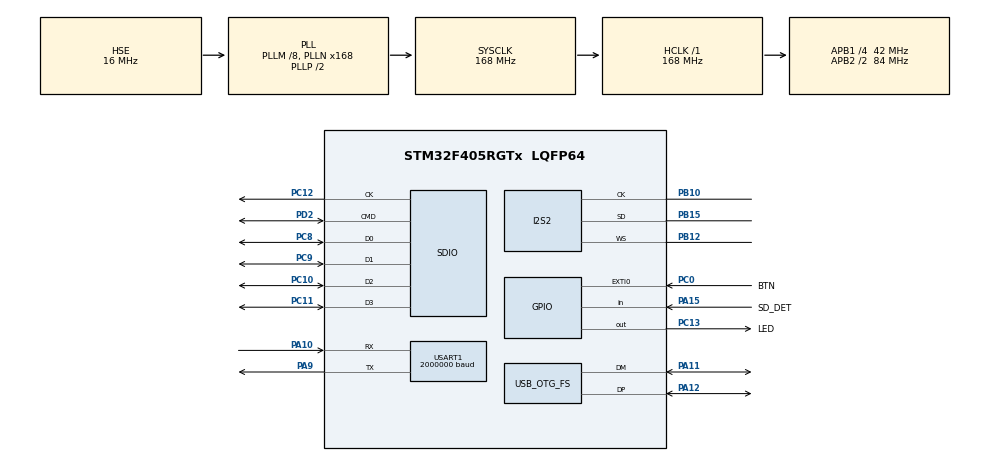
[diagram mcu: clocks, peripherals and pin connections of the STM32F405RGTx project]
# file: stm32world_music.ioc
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ARM.CMSIS.5.6.0.CMSISJjDSP=Library
Dma.Request0=SPI2_TX
Dma.SPI2_TX.0.Direction=DMA_MEMORY_TO_PERIPH
Dma.SPI2_TX.0.FIFOMode=DMA_FIFOMODE_DISABLE
Dma.SPI2_TX.0.Instance=DMA1_Stream4
Dma.SPI2_TX.0.MemDataAlignment=DMA_MDATAALIGN_HALFWORD
Dma.SPI2_TX.0.MemInc=DMA_MINC_ENABLE
Dma.SPI2_TX.0.Mode=DMA_CIRCULAR
Dma.SPI2_TX.0.PeriphDataAlignment=DMA_PDATAALIGN_HALFWORD
Dma.SPI2_TX.0.PeriphInc=DMA_PINC_DISABLE
Dma.SPI2_TX.0.Priority=DMA_PRIORITY_LOW
FATFS.BSP.number=1
FATFS._FS_EXFAT=1
FATFS._FS_LOCK=16
FATFS._MULTI_PARTITION=1
FATFS._USE_EXPAND=1
FATFS._USE_FIND=1
FATFS._USE_LABEL=1
FATFS._USE_LFN=1
FATFS._VOLUMES=4
FATFS0.BSP.STBoard=false
FATFS0.BSP.api=Unknown
FATFS0.BSP.instance=PA15
FATFS0.BSP.ip=GPIO
FATFS0.BSP.mode=Input
FATFS0.BSP.name=Detect_SDIO
FATFS0.BSP.solution=PA15
I2S2.AudioFreq=I2S_AUDIOFREQ_48K
I2S2.ErrorAudioFreq=0.61 %
I2S2.FullDuplexMode=I2S_FULLDUPLEXMODE_DISABLE
I2S2.Instance=SPI$Index
I2S2.RealAudioFreq=48.295 KHz
I2S2.Standard=I2S_STANDARD_PHILIPS
I2S2.VirtualMode=I2S_MODE_MASTER
Mcu.Family=STM32F4
Mcu.Name=STM32F405RGTx
Mcu.Package=LQFP64
NVIC.DMA1_Stream4_IRQn=true\:0\:0\:false\:false\:true\:false\:true\:true
NVIC.OTG_FS_IRQn=true\:0\:0\:false\:false\:true\:false\:true\:true
NVIC.PriorityGroup=NVIC_PRIORITYGROUP_4
NVIC.SDIO_IRQn=true\:0\:0\:false\:false\:true\:true\:true\:true
PA10.Mode=Asynchronous
PA10.Signal=USART1_RX
PA11.Mode=Device_Only
PA11.Signal=USB_OTG_FS_DM
PA12.Mode=Device_Only
PA12.Signal=USB_OTG_FS_DP
PA13.Mode=Serial_Wire
PA13.Signal=SYS_JTMS-SWDIO
PA14.Mode=Serial_Wire
PA14.Signal=SYS_JTCK-SWCLK
PA15.GPIO_Label=SD_DET
PA15.Signal=GPIO_Input
PA9.Mode=Asynchronous
PA9.Signal=USART1_TX
PB10.Mode=Half_Duplex_Master
PB10.Signal=I2S2_CK
PB12.Mode=Half_Duplex_Master
PB12.Signal=I2S2_WS
PB15.Mode=Half_Duplex_Master
PB15.Signal=I2S2_SD
PC0.GPIO_Label=BTN
PC0.Signal=GPXTI0
PC10.GPIO_PuPd=GPIO_PULLUP
PC10.Mode=SD_4_bits_Wide_bus
PC10.Signal=SDIO_D2
PC11.GPIO_PuPd=GPIO_PULLUP
PC11.Mode=SD_4_bits_Wide_bus
PC11.Signal=SDIO_D3
PC12.Mode=SD_4_bits_Wide_bus
PC12.Signal=SDIO_CK
PC13-ANTI_TAMP.GPIO_Label=LED
PC13-ANTI_TAMP.GPIO_ModeDefaultOutputPP=GPIO_MODE_OUTPUT_OD
PC13-ANTI_TAMP.GPIO_PuPd=GPIO_NOPULL
PC13-ANTI_TAMP.PinState=GPIO_PIN_SET
PC13-ANTI_TAMP.Signal=GPIO_Output
PC8.GPIO_PuPd=GPIO_PULLUP
PC8.Mode=SD_4_bits_Wide_bus
PC8.Signal=SDIO_D0
PC9.GPIO_PuPd=GPIO_PULLUP
PC9.Mode=SD_4_bits_Wide_bus
PC9.Signal=SDIO_D1
PD2.GPIO_PuPd=GPIO_PULLUP
PD2.Mode=SD_4_bits_Wide_bus
PD2.Signal=SDIO_CMD
PH0-OSC_IN.Mode=HSE-External-Oscillator
PH0-OSC_IN.Signal=RCC_OSC_IN
PH1-OSC_OUT.Mode=HSE-External-Oscillator
PH1-OSC_OUT.Signal=RCC_OSC_OUT
ProjectManager.HeapSize=0x200
ProjectManager.StackSize=0x400
ProjectManager.TargetToolchain=STM32CubeIDE
RCC.48MHZClocksFreq_Value=48000000
RCC.AHBFreq_Value=168000000
RCC.APB1CLKDivider=RCC_HCLK_DIV4
RCC.APB1Freq_Value=42000000
RCC.APB1TimFreq_Value=84000000
RCC.APB2CLKDivider=RCC_HCLK_DIV2
RCC.APB2Freq_Value=84000000
RCC.APB2TimFreq_Value=168000000
RCC.CortexFreq_Value=168000000
RCC.HCLKFreq_Value=168000000
RCC.HSE_VALUE=16000000
RCC.HSI_VALUE=16000000
RCC.LSE_VALUE=32768
RCC.PLLI2SN=51
RCC.PLLM=8
RCC.PLLN=168
RCC.PLLQ=7
RCC.SYSCLKFreq_VALUE=168000000
RCC.SYSCLKSource=RCC_SYSCLKSOURCE_PLLCLK
RCC.VCOOutputFreq_Value=336000000
SDIO.ClockBypass=SDIO_CLOCK_BYPASS_DISABLE
SDIO.ClockDiv=0
USART1.BaudRate=2000000
USART1.VirtualMode=VM_ASYNC
USB_DEVICE.CLASS_NAME_FS=AUDIO
USB_DEVICE.VirtualMode-AUDIO_FS=Audio
USB_DEVICE.VirtualModeFS=Audio_FS
USB_OTG_FS.VirtualMode=Device_Only
VP_ARM.CMSIS_VS_CMSISJjDSP_1.7.0_5.6.0.Mode=CMSISJjDSP
VP_FATFS_VS_SDIO.Mode=SDIO
VP_USB_DEVICE_VS_USB_DEVICE_AUDIO_FS.Mode=AUDIO_FS
board=custom

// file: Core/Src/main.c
/* USER CODE BEGIN Header */
/**
 ******************************************************************************
 * @file           : main.c
 * @brief          : Main program body
 ******************************************************************************
 * @attention
 *
 * Copyright (c) 2025 Lars Boegild Thomsen <lth@stm32world.com>
 * All rights reserved.
 *
 * This software is licensed under terms that can be found in the LICENSE file
 * in the root directory of this software component.
 * If no LICENSE file comes with this software, it is provided AS-IS.
 *
 ******************************************************************************
 */
/* USER CODE END Header */
#include "main.h"
#include "fatfs.h"
#include "usb_device.h"

/* USER CODE BEGIN Includes */
#include <stdio.h>
#include <math.h>
#include "arm_math.h"
/* USER CODE END Includes */

/* USER CODE BEGIN PD */

#define TAU 6.28318530717958647692
#define I2S_DMA_BUFFER_SAMPLES 480
#define I2S_DMA_BUFFER_SIZE 2 * 2 * I2S_DMA_BUFFER_SAMPLES // 2 full buffers L+R samples
#define SAMPLE_FREQ 48000
#define OUTPUT_MID 32768

/* USER CODE END PD */

I2S_HandleTypeDef hi2s2;
DMA_HandleTypeDef hdma_spi2_tx;

SD_HandleTypeDef hsd;

UART_HandleTypeDef huart1;

/* USER CODE BEGIN PV */

//const float two_pi = 2 * M_PI;
float angle[2] = {
        0,
        0
};

float angle_change[2] = {
        100.0 * (TAU / SAMPLE_FREQ), // left
        50.0 * (TAU / SAMPLE_FREQ)  // right
};

float amplification[2] = {
        1,
        0.4
};

const char total_uptime_filename[] = "uptime.dat";
const char tick_filename[] = "tick.txt";

int16_t i2s_dma_buffer[I2S_DMA_BUFFER_SIZE];

//int16_t *dma_buffer_to_fill;

uint8_t dma_buffer_processing = 0;
uint32_t dma_overflow = 0;

uint32_t i2c_cb, i2c_hcb;
uint32_t total_uptime;

uint8_t open_next_file = 1;

FRESULT res;
DIR dir;
FIL music_file;
FILINFO music_file_info;

/* USER CODE END PV */

void SystemClock_Config(void);
static void MX_GPIO_Init(void);
static void MX_DMA_Init(void);
static void MX_USART1_UART_Init(void);
static void MX_SDIO_SD_Init(void);
static void MX_I2S2_Init(void);

/* USER CODE BEGIN 0 */

// Send printf to uart1
int _write(int fd, char *ptr, int len) {
    HAL_StatusTypeDef hstatus;

    if (fd == 1 || fd == 2) {
        hstatus = HAL_UART_Transmit(&huart1, (uint8_t*) ptr, len, HAL_MAX_DELAY);
        if (hstatus == HAL_OK)
            return len;
        else
            return -1;
    }
    return -1;
}

uint8_t BSP_SD_IsDetected(void)
{
    __IO uint8_t status = SD_PRESENT; // Just ignore the thing

//    if (HAL_GPIO_ReadPin(SD_DETECT_GPIO_PORT, SD_DETECT_PIN) != GPIO_PIN_RESET) {
//        status = SD_NOT_PRESENT;
//    }

    return status;
}

void ls() {

    char *path;

    path = ""; // where you want to list

    res = f_opendir(&dir, path);

#ifdef DEBUG
    if (res != FR_OK)
        printf("res = %d f_opendir\n", res);
#endif

    if (res == FR_OK) {
        while (1) {

            FILINFO fno;

            res = f_readdir(&dir, &fno);

#ifdef DEBUG
            if (res != FR_OK)
                printf("res = %d f_readdir\n", res);
#endif

            if ((res != FR_OK) || (fno.fname[0] == 0))
                break;

            printf("%c%c%c%c %10d %s/%s\n",
                    ((fno.fattrib & AM_DIR) ? 'D' : '-'),
                    ((fno.fattrib & AM_RDO) ? 'R' : '-'),
                    ((fno.fattrib & AM_SYS) ? 'S' : '-'),
                    ((fno.fattrib & AM_HID) ? 'H' : '-'),
                    (int) fno.fsize, path, fno.fname);
        }

    }

    uint32_t free_clusters;
    FATFS *fs_ptr;

    res = f_getfree("", &free_clusters, &fs_ptr);
    if (res == FR_OK) {
        uint32_t totalBlocks = (fs_ptr->n_fatent - 2) * fs_ptr->csize;
        uint32_t freeBlocks = free_clusters * fs_ptr->csize;

        printf("Total blocks: %lu (%lu Mb)\n", totalBlocks, totalBlocks / 2000);
        printf("Free blocks : %lu (%lu Mb)\n", freeBlocks, freeBlocks / 2000);
    } else {
        printf("Unable to get free space\n");
    }

}

void process_buffer(int16_t *buffer) {

    dma_buffer_processing = 1;

    for (int i = 0; i < 2 * I2S_DMA_BUFFER_SAMPLES; i += 2) { // Two samples left/right per step
        buffer[i] = OUTPUT_MID * amplification[0] * arm_cos_f32(angle[0]);      // Left
        buffer[i + 1] = OUTPUT_MID * amplification[1] * arm_cos_f32(angle[1]);  // Right
        angle[0] += angle_change[0];
        angle[1] += angle_change[1];
        if (angle[0] > TAU)
            angle[0] -= TAU;
        if (angle[1] > TAU)
            angle[1] -= TAU;
    }

    dma_buffer_processing = 0;

}

void HAL_I2S_TxCpltCallback(I2S_HandleTypeDef *hi2s) {
    if (dma_buffer_processing) {
        ++dma_overflow; // Still processing previous buffer
    } else {
        process_buffer(&i2s_dma_buffer[2 * I2S_DMA_BUFFER_SAMPLES]); // Second half
        ++i2c_cb;
    }
}

void HAL_I2S_TxHalfCpltCallback(I2S_HandleTypeDef *hi2s) {
    if (dma_buffer_processing) {
        ++dma_overflow; // Still processing previous buffer
    } else {
        process_buffer(&i2s_dma_buffer[0]);
        ++i2c_hcb;
    }

}

/* USER CODE END 0 */

int main(void)
{

    /* MCU Configuration--------------------------------------------------------*/

    /* Reset of all peripherals, Initializes the Flash interface and the Systick. */
    HAL_Init();

    /* Configure the system clock */
    SystemClock_Config();

    /* Initialize all configured peripherals */
    MX_GPIO_Init();
    MX_DMA_Init();
    MX_USART1_UART_Init();
    MX_SDIO_SD_Init();
    MX_I2S2_Init();
    MX_USB_DEVICE_Init();
    MX_FATFS_Init();
    /* USER CODE BEGIN 2 */

    printf("\n\n\n---------------------\nStarting music player\n");

    printf("SD Card Information:\n");
    printf("Block size  : %lu\n", hsd.SdCard.BlockSize);
    printf("Block nmbr  : %lu\n", hsd.SdCard.BlockNbr);
    printf("Card size   : %lu\n", (hsd.SdCard.BlockSize * hsd.SdCard.BlockNbr) / 1000);
    printf("Card version: %lu\n", hsd.SdCard.CardVersion);

    uint32_t wbytes, rbytes;

    if (f_mount(&SDFatFS, (TCHAR const*) SDPath, 0) != FR_OK) {
        printf("Unable to mount disk\n");
        Error_Handler();
    }

    if (f_open(&SDFile, total_uptime_filename, FA_OPEN_EXISTING | FA_READ) == FR_OK) {
        if (f_read(&SDFile, &total_uptime, sizeof(total_uptime), (void*) &rbytes) == FR_OK) {
            printf("Total uptime = %lu\n", total_uptime);
            f_close(&SDFile);
        } else {
            printf("Unable to read\n");
            Error_Handler();
        }
    } else {
        // File did not exist - let's create it
        if (f_open(&SDFile, total_uptime_filename, FA_CREATE_ALWAYS | FA_WRITE) == FR_OK) {
            if (f_write(&SDFile, &total_uptime, sizeof(total_uptime), (void*) &wbytes) == FR_OK) {
                printf("File %s created\n", total_uptime_filename);
                f_close(&SDFile);
            } else {
                printf("Unable to write\n");
                Error_Handler();
            }
        } else {
            printf("Unable to create\n");
            Error_Handler();
        }
    }

    // Create tick file always
    if (f_open(&SDFile, tick_filename, FA_CREATE_ALWAYS | FA_WRITE) == FR_OK) {
        f_close(&SDFile);
    }

    HAL_I2S_Transmit_DMA(&hi2s2, (uint16_t*) &i2s_dma_buffer, 2 * I2S_DMA_BUFFER_SAMPLES);

    /* USER CODE END 2 */

    /* Infinite loop */
    /* USER CODE BEGIN WHILE */

    uint32_t now = 0, next_blink = 500, next_tick = 1000, loop_cnt = 0;

    while (1) {

        now = uwTick;

        if (now >= next_blink) {

            HAL_GPIO_TogglePin(LED_GPIO_Port, LED_Pin);

            next_blink = now + 500;
        }

        if (now >= next_tick) {

            printf("Tick %lu (loop=%lu hcb=%lu cb=%lu do=%lu)\n", now / 1000, loop_cnt, i2c_hcb, i2c_cb, dma_overflow);

            ++total_uptime;

//            // Update the total uptime file
//            if (f_open(&SDFile, total_uptime_filename, FA_OPEN_EXISTING | FA_WRITE) == FR_OK) {
//                if (f_write(&SDFile, &total_uptime, sizeof(total_uptime), (void*) &wbytes) != FR_OK) {
//                    printf("Unable to write\n");
//                }
//                f_close(&SDFile);
//            } else {
//                printf("Unable to open file\n");
//            }

            open_next_file = 0;

            loop_cnt = 0;
            next_tick = now + 1000;

        }

        if (open_next_file) {

            // Experimental advance to next
            res = f_findnext(&dir, &music_file_info);

            if (res != FR_OK || music_file_info.fname[0] == '\0') { // If we're out of files start again
                res = f_findfirst(&dir, &music_file_info, "", "*.wav");
            }
            printf("Next file: %s\n", music_file_info.fname);

            open_next_file = 0;

        }

//        if (dma_buffer_to_fill) {
//
//            for (int i = 0; i < I2S_DMA_BUFFER_SAMPLES; ++i) {
//                dma_buffer_to_fill[0] = (int16_t) (amplification[0] * (OUTPUT_MID * arm_cos_f32(angle[0])));
//                dma_buffer_to_fill[1] = (int16_t) (amplification[1] * (OUTPUT_MID * arm_cos_f32(angle[1])));
//                angle[0] += angle_change[0];
//                angle[1] += angle_change[1];
//                if (angle[0] >= two_pi) {
//                    angle[0] -= two_pi;
//                }
//                if (angle[1] >= two_pi) {
//                    angle[1] -= two_pi;
//                }
//                dma_buffer_to_fill += 2;
//            }
//
//            dma_buffer_to_fill = 0;
//        }

        ++loop_cnt;

        /* USER CODE END WHILE */

    }
}

void SystemClock_Config(void)
{
    RCC_OscInitTypeDef RCC_OscInitStruct = { 0 };
    RCC_ClkInitTypeDef RCC_ClkInitStruct = { 0 };

    /** Configure the main internal regulator output voltage
     */
    __HAL_RCC_PWR_CLK_ENABLE();
    __HAL_PWR_VOLTAGESCALING_CONFIG(PWR_REGULATOR_VOLTAGE_SCALE1);

    /** Initializes the RCC Oscillators according to the specified parameters
     * in the RCC_OscInitTypeDef structure.
     */
    RCC_OscInitStruct.OscillatorType = RCC_OSCILLATORTYPE_HSE;
    RCC_OscInitStruct.HSEState = RCC_HSE_ON;
    RCC_OscInitStruct.PLL.PLLState = RCC_PLL_ON;
    RCC_OscInitStruct.PLL.PLLSource = RCC_PLLSOURCE_HSE;
    RCC_OscInitStruct.PLL.PLLM = 8;
    RCC_OscInitStruct.PLL.PLLN = 168;
    RCC_OscInitStruct.PLL.PLLP = RCC_PLLP_DIV2;
    RCC_OscInitStruct.PLL.PLLQ = 7;
    if (HAL_RCC_OscConfig(&RCC_OscInitStruct) != HAL_OK)
            {
        Error_Handler();
    }

    /** Initializes the CPU, AHB and APB buses clocks
     */
    RCC_ClkInitStruct.ClockType = RCC_CLOCKTYPE_HCLK | RCC_CLOCKTYPE_SYSCLK
            | RCC_CLOCKTYPE_PCLK1 | RCC_CLOCKTYPE_PCLK2;
    RCC_ClkInitStruct.SYSCLKSource = RCC_SYSCLKSOURCE_PLLCLK;
    RCC_ClkInitStruct.AHBCLKDivider = RCC_SYSCLK_DIV1;
    RCC_ClkInitStruct.APB1CLKDivider = RCC_HCLK_DIV4;
    RCC_ClkInitStruct.APB2CLKDivider = RCC_HCLK_DIV2;

    if (HAL_RCC_ClockConfig(&RCC_ClkInitStruct, FLASH_LATENCY_5) != HAL_OK)
            {
        Error_Handler();
    }
}

static void MX_I2S2_Init(void)
{

    hi2s2.Instance = SPI2;
    hi2s2.Init.Mode = I2S_MODE_MASTER_TX;
    hi2s2.Init.Standard = I2S_STANDARD_PHILIPS;
    hi2s2.Init.DataFormat = I2S_DATAFORMAT_16B;
    hi2s2.Init.MCLKOutput = I2S_MCLKOUTPUT_DISABLE;
    hi2s2.Init.AudioFreq = I2S_AUDIOFREQ_48K;
    hi2s2.Init.CPOL = I2S_CPOL_LOW;
    hi2s2.Init.ClockSource = I2S_CLOCK_PLL;
    hi2s2.Init.FullDuplexMode = I2S_FULLDUPLEXMODE_DISABLE;
    if (HAL_I2S_Init(&hi2s2) != HAL_OK)
            {
        Error_Handler();
    }

}

static void MX_SDIO_SD_Init(void)
{

    hsd.Instance = SDIO;
    hsd.Init.ClockEdge = SDIO_CLOCK_EDGE_RISING;
    hsd.Init.ClockBypass = SDIO_CLOCK_BYPASS_DISABLE;
    hsd.Init.ClockPowerSave = SDIO_CLOCK_POWER_SAVE_DISABLE;
    hsd.Init.BusWide = SDIO_BUS_WIDE_4B;
    hsd.Init.HardwareFlowControl = SDIO_HARDWARE_FLOW_CONTROL_DISABLE;
    hsd.Init.ClockDiv = 0;
    /* USER CODE BEGIN SDIO_Init 2 */

    // First init with 1B bus - SD card will not initialize with 4 bits
    hsd.Init.BusWide = SDIO_BUS_WIDE_1B;
    if (HAL_SD_Init(&hsd) != HAL_OK) {
        Error_Handler();
    }

    // Now we can switch to 4 bit mode
    if (HAL_SD_ConfigWideBusOperation(&hsd, SDIO_BUS_WIDE_4B) != HAL_OK) {
        Error_Handler();
    }

    /* USER CODE END SDIO_Init 2 */

}

static void MX_USART1_UART_Init(void)
{

    huart1.Instance = USART1;
    huart1.Init.BaudRate = 2000000;
    huart1.Init.WordLength = UART_WORDLENGTH_8B;
    huart1.Init.StopBits = UART_STOPBITS_1;
    huart1.Init.Parity = UART_PARITY_NONE;
    huart1.Init.Mode = UART_MODE_TX_RX;
    huart1.Init.HwFlowCtl = UART_HWCONTROL_NONE;
    huart1.Init.OverSampling = UART_OVERSAMPLING_16;
    if (HAL_UART_Init(&huart1) != HAL_OK)
            {
        Error_Handler();
    }

}

static void MX_DMA_Init(void)
{

    /* DMA controller clock enable */
    __HAL_RCC_DMA1_CLK_ENABLE();

    /* DMA interrupt init */
    /* DMA1_Stream4_IRQn interrupt configuration */
    HAL_NVIC_SetPriority(DMA1_Stream4_IRQn, 0, 0);
    HAL_NVIC_EnableIRQ(DMA1_Stream4_IRQn);

}

static void MX_GPIO_Init(void)
{
    GPIO_InitTypeDef GPIO_InitStruct = { 0 };

    /* GPIO Ports Clock Enable */
    __HAL_RCC_GPIOC_CLK_ENABLE();
    __HAL_RCC_GPIOH_CLK_ENABLE();
    __HAL_RCC_GPIOB_CLK_ENABLE();
    __HAL_RCC_GPIOA_CLK_ENABLE();
    __HAL_RCC_GPIOD_CLK_ENABLE();

    /*Configure GPIO pin Output Level */
    HAL_GPIO_WritePin(LED_GPIO_Port, LED_Pin, GPIO_PIN_SET);

    /*Configure GPIO pin : LED_Pin */
    GPIO_InitStruct.Pin = LED_Pin;
    GPIO_InitStruct.Mode = GPIO_MODE_OUTPUT_OD;
    GPIO_InitStruct.Pull = GPIO_NOPULL;
    GPIO_InitStruct.Speed = GPIO_SPEED_FREQ_LOW;
    HAL_GPIO_Init(LED_GPIO_Port, &GPIO_InitStruct);

    /*Configure GPIO pin : BTN_Pin */
    GPIO_InitStruct.Pin = BTN_Pin;
    GPIO_InitStruct.Mode = GPIO_MODE_IT_RISING;
    GPIO_InitStruct.Pull = GPIO_NOPULL;
    HAL_GPIO_Init(BTN_GPIO_Port, &GPIO_InitStruct);

    /*Configure GPIO pin : SD_DET_Pin */
    GPIO_InitStruct.Pin = SD_DET_Pin;
    GPIO_InitStruct.Mode = GPIO_MODE_INPUT;
    GPIO_InitStruct.Pull = GPIO_NOPULL;
    HAL_GPIO_Init(SD_DET_GPIO_Port, &GPIO_InitStruct);

}

void Error_Handler(void)
{
    __disable_irq();
    while (1)
    {
    }
}
